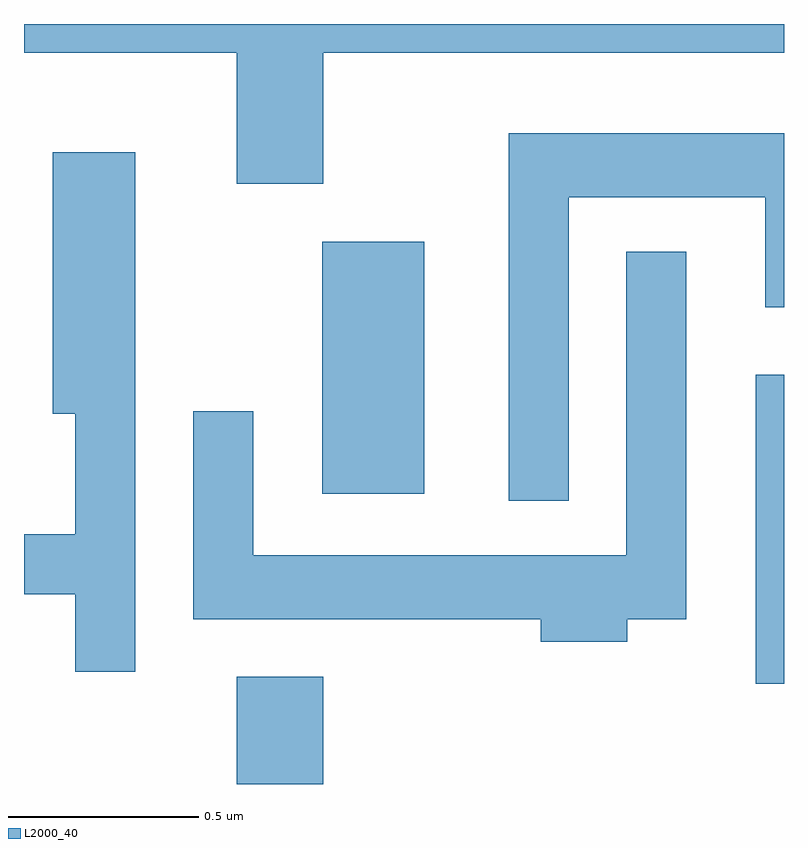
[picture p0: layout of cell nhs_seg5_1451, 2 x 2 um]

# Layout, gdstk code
import gdstk
lib = gdstk.Library(unit=1e-6, precision=1e-09)
def R(c, l, rs):  # rectangles x0, y0, x1, y1
    for r in rs: c.add(gdstk.rectangle(r[:2], r[2:], *l))
def P(c, l, *ps):  # polygons
    for p in ps: c.add(gdstk.Polygon(p, *l))
L2000_40 = (2000, 40)

nhs_seg5_1451 = lib.new_cell('nhs_seg5_1451')
R(nhs_seg5_1451, L2000_40, [(196.171,1477.072,196.399,1477.354), (197.536,1477.336,197.611,1478.149), (196.396,1477.836,196.664,1478.499)])
P(nhs_seg5_1451, L2000_40, [(196.399,1478.996),(197.611,1478.996),(197.611,1479.072),(195.611,1479.072),(195.611,1478.996),(196.171,1478.996),(196.171,1478.651),(196.399,1478.651)],
  [(197.044,1478.616),(197.561,1478.616),(197.561,1478.326),(197.611,1478.326),(197.611,1478.784),(196.886,1478.784),(196.886,1477.818),(197.044,1477.818)],
  [(195.904,1478.734),(195.686,1478.734),(195.686,1478.046),(195.746,1478.046),(195.746,1477.729),(195.611,1477.729),(195.611,1477.571),(195.746,1477.571),(195.746,1477.368),(195.904,1477.368)],
  [(197.199,1477.506),(197.354,1477.506),(197.354,1478.473),(197.196,1478.473),(197.196,1477.674),(196.214,1477.674),(196.214,1478.053),(196.056,1478.053),(196.056,1477.506),(196.971,1477.506),(196.971,1477.446),(197.199,1477.446)])

lib.write_gds('nhs_seg5_1451.gds')
